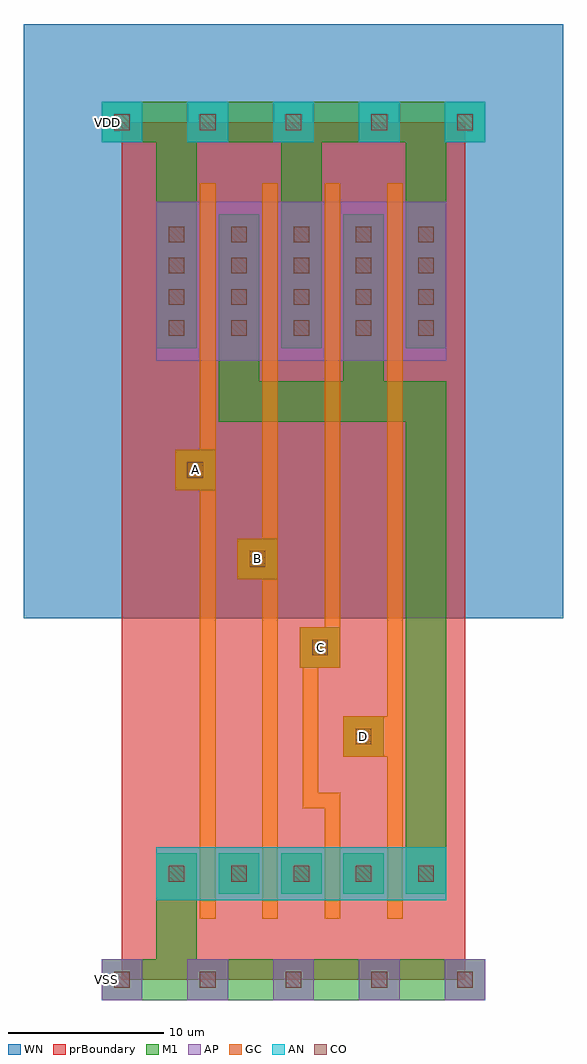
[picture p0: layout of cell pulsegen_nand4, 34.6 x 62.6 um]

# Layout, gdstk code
import gdstk
lib = gdstk.Library(unit=1e-6, precision=1e-07)
def R(c, l, rs):  # rectangles x0, y0, x1, y1
    for r in rs: c.add(gdstk.rectangle(r[:2], r[2:], *l))
def A(c, l, x, y, w, h, nx, ny, dx, dy):  # array of equal rectangles
    R(c, l, [(x+i*dx, y+j*dy, x+i*dx+w, y+j*dy+h) for i in range(nx) for j in range(ny)])
def P(c, l, *ps):  # polygons
    for p in ps: c.add(gdstk.Polygon(p, *l))
AP = (3, 1)
AN = (3, 2)
GC = (8, 1)
CO = (11, 0)
M1 = (13, 0)
WN = (140, 0)
prBoundary = (235, 0)

fet_n = lib.new_cell('fet_n')
R(fet_n, AN, [(-9.3,-1.7,9.3,1.7)])
A(fet_n, CO, -8.5, -0.5, 1, 1, 5, 1, 4, 0)
A(fet_n, M1, -9.3, -1.3, 2.6, 2.6, 5, 1, 4, 0)
fet_n.add(gdstk.FlexPath([(2,-2.9),(2,2.9)], 1, ends="flush", simple_path=True, layer=8, datatype=1))  # GC
fet_n.add(gdstk.FlexPath([(-2,-2.9),(-2,2.9)], 1, ends="flush", simple_path=True, layer=8, datatype=1))  # GC
fet_n.add(gdstk.FlexPath([(6,-2.9),(6,2.9)], 1, ends="flush", simple_path=True, layer=8, datatype=1))  # GC
fet_n.add(gdstk.FlexPath([(-6,-2.9),(-6,2.9)], 1, ends="flush", simple_path=True, layer=8, datatype=1))  # GC

fet_p = lib.new_cell('fet_p')
R(fet_p, AP, [(-9.3,-5.1,9.3,5.1)])
A(fet_p, CO, -8.5, -3.5, 1, 1, 5, 4, 4, 2)
A(fet_p, M1, -9.3, -4.3, 2.6, 8.6, 5, 1, 4, 0)
fet_p.add(gdstk.FlexPath([(2,-6.3),(2,6.3)], 1, ends="flush", simple_path=True, layer=8, datatype=1))  # GC
fet_p.add(gdstk.FlexPath([(-2,-6.3),(-2,6.3)], 1, ends="flush", simple_path=True, layer=8, datatype=1))  # GC
fet_p.add(gdstk.FlexPath([(6,-6.3),(6,6.3)], 1, ends="flush", simple_path=True, layer=8, datatype=1))  # GC
fet_p.add(gdstk.FlexPath([(-6,-6.3),(-6,6.3)], 1, ends="flush", simple_path=True, layer=8, datatype=1))  # GC

cont_p = lib.new_cell('cont_p')
R(cont_p, AP, [(-1.3,-1.3,1.3,1.3)])
R(cont_p, CO, [(-0.5,-0.5,0.5,0.5)])
R(cont_p, M1, [(-1.3,-1.3,1.3,1.3)])

cont_n = lib.new_cell('cont_n')
R(cont_n, AN, [(-1.3,-1.3,1.3,1.3)])
R(cont_n, CO, [(-0.5,-0.5,0.5,0.5)])
R(cont_n, M1, [(-1.3,-1.3,1.3,1.3)])

cont_g = lib.new_cell('cont_g')
R(cont_g, GC, [(-1.3,-1.3,1.3,1.3)])
R(cont_g, CO, [(-0.5,-0.5,0.5,0.5)])
R(cont_g, M1, [(-1.3,-1.3,1.3,1.3)])

pulsegen_nand4 = lib.new_cell('pulsegen_nand4')
R(pulsegen_nand4, GC, [(5,9.7,6,38.5), (9,9.7,10,38.5)])
P(pulsegen_nand4, GC, [(13,9.7),(13,11),(11.6,11),(11.6,21),(13,21),(13,38.5),(14,38.5),(14,20),(12.6,20),(12.6,12),(14,12),(14,9.7)],
  [(17,9.7),(17,14.3),(16.8,14.3),(16.8,16.9),(17,16.9),(17,38.5),(18,38.5),(18,9.7)])
A(pulsegen_nand4, M1, 2.2, 49.1, 2.6, 4.6, 3, 1, 8, 0)
R(pulsegen_nand4, M1, [(-1.3,-1.3,23.3,1.3), (2.2,1.3,4.8,5.5), (-1.3,53.7,23.3,56.3)])
P(pulsegen_nand4, M1, [(18.2,8.1),(18.2,35.8),(6.2,35.8),(6.2,40.5),(8.8,40.5),(8.8,38.4),(14.2,38.4),(14.2,40.5),(16.8,40.5),(16.8,38.4),(20.8,38.4),(20.8,8.1)])
R(pulsegen_nand4, WN, [(-6.3,23.2,28.3,61.3)])
R(pulsegen_nand4, prBoundary, [(0,0,22,55)])
pulsegen_nand4.add(gdstk.Reference(fet_n, (11.5,6.8), x_reflection=True))
pulsegen_nand4.add(gdstk.Reference(fet_p, (11.5,44.8), x_reflection=True))
r = gdstk.Reference(cont_p, (0,0), x_reflection=True); r.repetition = gdstk.Repetition(5, 1, v1=(5.5,0), v2=(0,0)); pulsegen_nand4.add(r)
r = gdstk.Reference(cont_n, (0,55), x_reflection=True); r.repetition = gdstk.Repetition(5, 1, v1=(5.5,0), v2=(0,0)); pulsegen_nand4.add(r)
pulsegen_nand4.add(gdstk.Reference(cont_g, (15.5,15.6)))
pulsegen_nand4.add(gdstk.Reference(cont_g, (8.7,27)))
pulsegen_nand4.add(gdstk.Reference(cont_g, (4.7,32.7)))
pulsegen_nand4.add(gdstk.Reference(cont_g, (12.7,21.3)))
pulsegen_nand4.add(gdstk.Label('A', (4.7,32.7), layer=48, texttype=0))
pulsegen_nand4.add(gdstk.Label('B', (8.7,27), layer=48, texttype=0))
pulsegen_nand4.add(gdstk.Label('C', (12.7,21.3), layer=48, texttype=0))
pulsegen_nand4.add(gdstk.Label('D', (15.5,15.6), layer=48, texttype=0))
pulsegen_nand4.add(gdstk.Label('VSS', (-1,0), layer=48, texttype=0))
pulsegen_nand4.add(gdstk.Label('VDD', (-0.9,55), layer=48, texttype=0))

lib.write_gds('pulsegen_nand4.gds')
